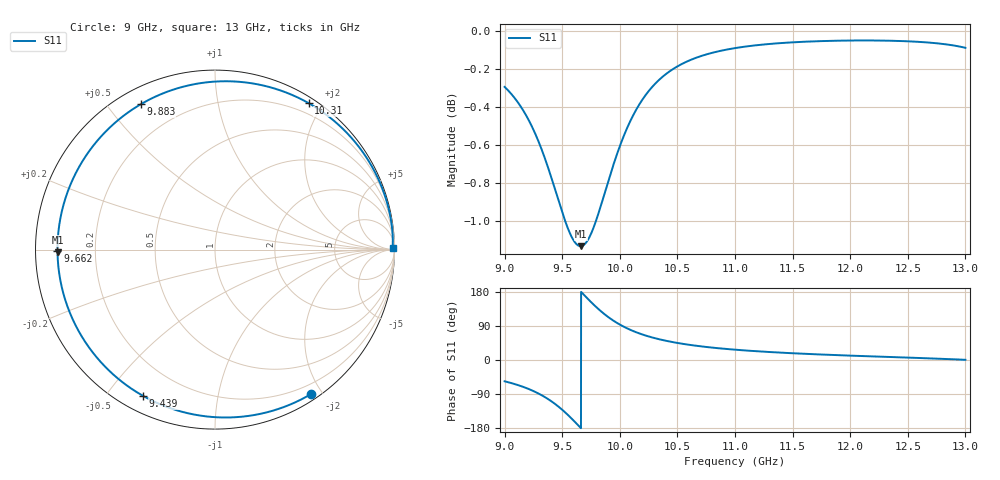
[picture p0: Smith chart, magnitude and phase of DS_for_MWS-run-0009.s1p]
! TOUCHSTONE file generated by CST DESIGN STUDIO
! Date and time: Tue Feb  4 17:06:55 2025
! Project name: C:\Work\MatlabApps\UnitCellOptimizationMatlab\CST\unitcell.cst
! Tree item: Tasks\Sweep1\SPara1\S-Parameters
! Header version: 2024
! Port assignment regex: !\s*Touchstone port\s*([0-9]+)\s*=\s*(CST MWS port|CST DES external port|CST DES block port)\s*(.+)\s* \(\"(.*)\"\)(\s*mode\s*([0-9]+))?.*
! Touchstone port assignment:
! Touchstone port 1 = CST DES external port 1 ("")
# GHz S MA R 50
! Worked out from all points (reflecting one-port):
!   4001 points, 9 GHz to 13 GHz, reference 50 ohm
!   lowest |S11| = -1.1 dB at 9.66 GHz (marker M1), VSWR 15.34, Z = 3.26 - j0.438 ohm
!   phase of S11 starts at -56 deg and turns -303 deg over the sweep
!   S11 on the Smith chart (normalised r, x): 9 GHz: 0.08, -1.87; 9.439 GHz: 0.07, -0.62; 9.662 GHz: 0.07, -0.00; 9.883 GHz: 0.07, +0.61; 10.31 GHz: 0.07, +1.82; 13 GHz: open
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9  0.9666 -56.2
9.113  0.9578 -65.9
9.224  0.9454 -78.4
9.343  0.9268 -96.6
9.393  0.9174 -106.2
9.439  0.9081 -116.2
9.5  0.8959 -131.3
9.542  0.8883 -142.8
9.587  0.882 -156.1
9.624  0.8787 -167.6
9.66  0.8776 -179.0
9.662  0.8776 -179.6
9.708  0.8796 165.8
9.756  0.8851 151.1
9.82  0.8963 132.9
9.883  0.9093 117.1
9.939  0.9209 104.9
10  0.9324 93.5
10.072  0.9441 82.3
10.145  0.9536 72.9
10.306  0.9684 57.5
10.5  0.9787 45.0
10.719  0.9851 35.5
11  0.9896 27.2
11.5  0.9931 17.8
12  0.9941 11.5
12.5  0.9937 6.3
13  0.9898 0.5
